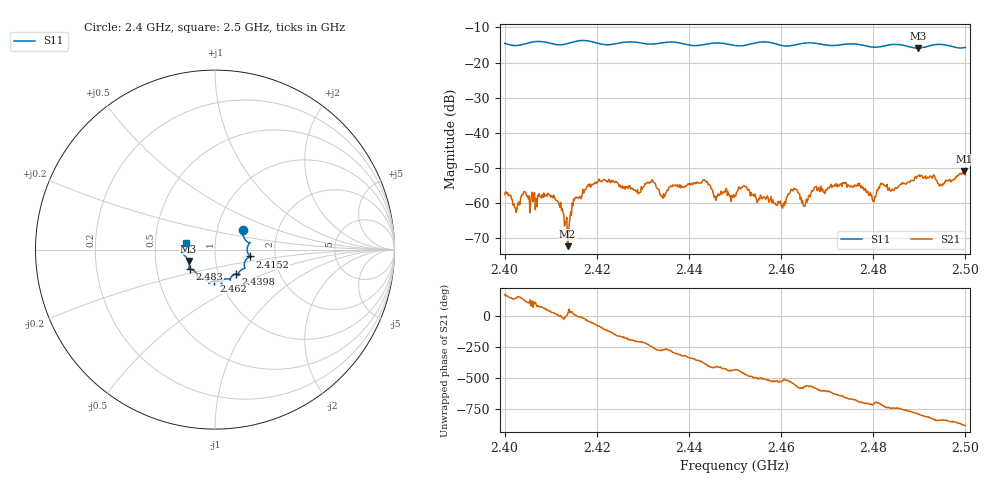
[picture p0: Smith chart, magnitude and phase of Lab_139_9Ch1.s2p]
# Hz S RI R 50
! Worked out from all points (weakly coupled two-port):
!   601 points, 2.4 GHz to 2.5 GHz, reference 50 ohm
!   highest |S21| = -50.99 dB at 2.4997 GHz (marker M1); lowest = -72.4 dB at 2.4137 GHz (marker M2)
!   lowest |S11| = -15.9 dB at 2.4897 GHz (marker M3), VSWR 1.38, Z = 36.9 - j4.81 ohm
!   |S11| at or under -10 dB: start of sweep to end of sweep
!   S12 and S22 are empty: the file has one direction only
!   S11 on the Smith chart (normalised r, x): 2.4 GHz: 1.33, +0.29; 2.4152 GHz: 1.48, -0.12; 2.4398 GHz: 1.21, -0.34; 2.462 GHz: 0.93, -0.33; 2.483 GHz: 0.74, -0.17; 2.5 GHz: 0.72, +0.06
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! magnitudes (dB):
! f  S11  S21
! 2.4 GHz  -14.5  -57.6
! 2.4023 GHz  -15.2  -61.4
! 2.4042 GHz  -14.8  -56.8
! 2.4098 GHz  -14.5  -57.8
! 2.4137 GHz  -14.6  -72.4
! 2.4152 GHz  -14.0  -59.2
! 2.4167 GHz  -13.7  -58.8
! 2.4217 GHz  -14.9  -53.4
! 2.4333 GHz  -14.6  -56.1
! 2.4398 GHz  -15.0  -54.6
! 2.45 GHz  -15.1  -57.8
! 2.4605 GHz  -15.2  -60.1
! 2.462 GHz  -15.2  -56.9
! 2.465 GHz  -14.5  -61.0
! 2.4667 GHz  -14.4  -56.5
! 2.4737 GHz  -14.8  -54.3
! 2.48 GHz  -15.6  -59.7
! 2.483 GHz  -15.1  -54.7
! 2.4833 GHz  -15.0  -55.8
! 2.4897 GHz  -15.9  -52.3
! 2.4997 GHz  -15.8  -51.0
! 2.5 GHz  -15.7  -52.0
